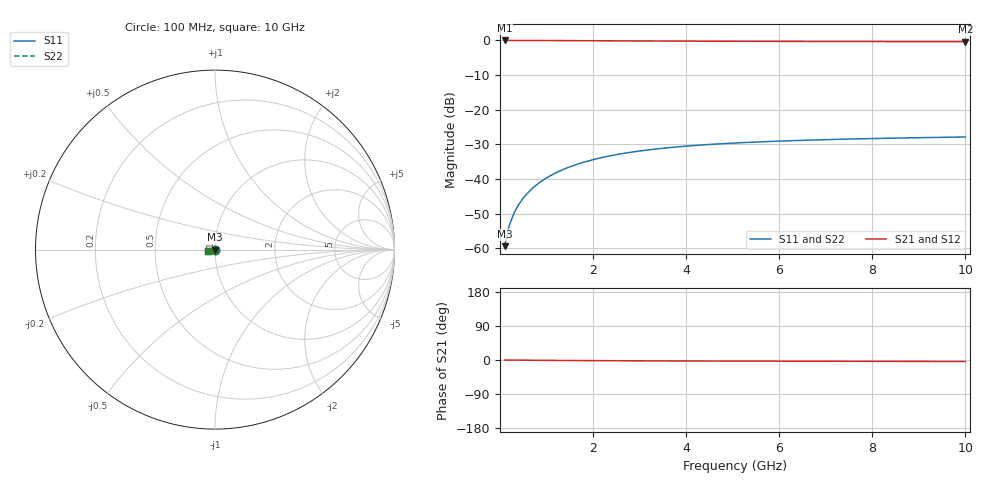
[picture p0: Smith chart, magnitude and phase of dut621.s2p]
! Touchstone file exported from HFSS 2024.1.0
!  File:  C:/UserFiles/LocalFiles/RDL_TSV_Batchsim/temp_TSV1_621_1779789250.aedt
!  Generated:  05:59:39 PM May 26, 2026
!  Design:  TSV1
!  Project:  temp_TSV1_621_1779789250
!  Setup:  Setup1
!  Solution:  Sweep
! Variables:
!  dtsv = 11.01um
!  hbump = 3um
!  htsv = 61.39um
!  lrdl = 252.1521522um
!  p = 40
!  p1 = 43.95um
!  t = 500um
!  trdl = 3um
!  wrdl = 24.89489489um
# GHz S MA R 50.000000
! Terminal data exported
! Port[1] = TSV22_T1
! Port[2] = TSV22_T2
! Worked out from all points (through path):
!   100 points, 100 MHz to 10 GHz, reference 50 ohm
!   highest |S21| = 0.00 dB at 100 MHz (marker M1); lowest = -0.4 dB at 10 GHz (marker M2)
!   lowest |S11| = -59.4 dB at 100 MHz (marker M3), VSWR 1.00, Z = 50 - j0.107 ohm
!   |S11| at or under -10 dB: start of sweep to end of sweep
!   |S22| runs from -59.4 to -27.9 dB; largest |S21 - S12| = 5.2e-15
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0.1  0.00107 -86.0  0.9999 -0.1  0.9999 -0.1  0.00107 -86.0
! Gamma 0 0 0 0
! Port Impedance 50 0 50 0
0.2  0.002131 -90.4  0.9998 -0.2  0.9998 -0.2  0.002131 -90.4
0.3  0.00319 -93.0  0.9996 -0.3  0.9996 -0.3  0.00319 -93.0
0.4  0.004243 -95.0  0.9994 -0.4  0.9994 -0.4  0.004243 -95.0
0.5  0.00529 -96.9  0.9991 -0.5  0.9991 -0.5  0.00529 -96.9
0.6  0.006326 -98.6  0.9988 -0.6  0.9988 -0.6  0.006326 -98.6
0.7  0.007352 -100.3  0.9984 -0.7  0.9984 -0.7  0.007352 -100.3
0.8  0.008364 -101.9  0.998 -0.8  0.998 -0.8  0.008364 -101.9
0.9  0.00936 -103.5  0.9975 -0.9  0.9975 -0.9  0.00936 -103.5
1.1  0.0113 -106.6  0.9964 -1.0  0.9964 -1.0  0.0113 -106.6
1.4  0.01406 -110.9  0.9946 -1.3  0.9946 -1.3  0.01406 -110.9
1.6  0.0158 -113.7  0.9933 -1.4  0.9933 -1.4  0.0158 -113.7
1.8  0.01743 -116.3  0.9919 -1.5  0.9919 -1.5  0.01743 -116.3
2.1  0.01971 -120.1  0.9897 -1.7  0.9897 -1.7  0.01971 -120.1
2.5  0.02242 -124.8  0.9869 -1.9  0.9869 -1.9  0.02242 -124.8
2.9  0.02478 -129.0  0.9841 -2.1  0.9841 -2.1  0.02478 -129.0
3.4  0.02729 -133.7  0.9809 -2.3  0.9809 -2.3  0.02729 -133.7
4.2  0.03048 -140.2  0.9763 -2.6  0.9763 -2.6  0.03048 -140.2
5.1  0.03316 -146.2  0.9721 -2.9  0.9721 -2.9  0.03316 -146.2
6.7  0.03645 -154.5  0.9665 -3.3  0.9665 -3.3  0.03645 -154.5
8.4  0.03878 -161.3  0.9625 -3.7  0.9625 -3.7  0.03878 -161.3
10  0.04035 -166.7  0.9599 -4.0  0.9599 -4.0  0.04035 -166.7
